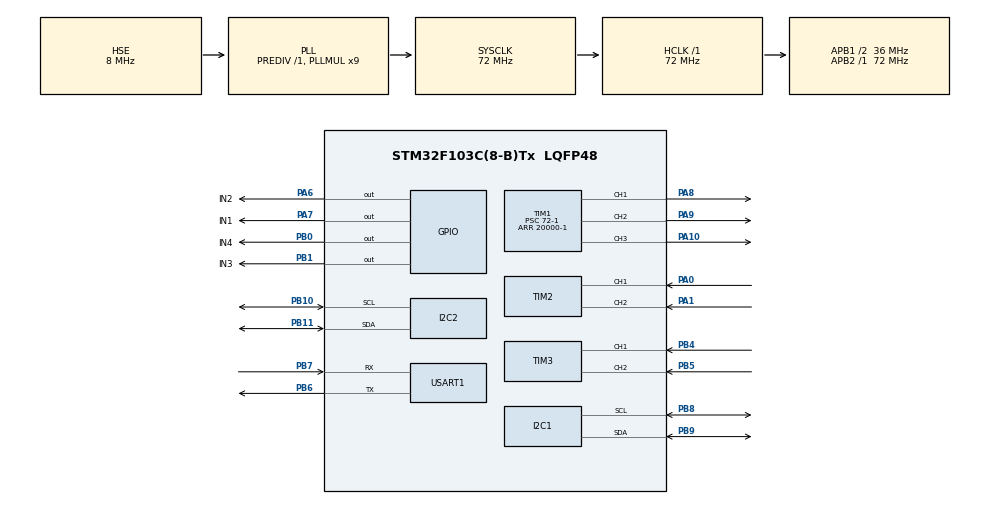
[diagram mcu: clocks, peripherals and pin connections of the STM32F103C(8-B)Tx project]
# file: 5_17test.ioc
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I2C1.I2C_Mode=I2C_Fast
I2C2.I2C_Mode=I2C_Fast
Mcu.Family=STM32F1
Mcu.Name=STM32F103C(8-B)Tx
Mcu.Package=LQFP48
NVIC.PriorityGroup=NVIC_PRIORITYGROUP_4
NVIC.TIM4_IRQn=true\:1\:0\:true\:false\:true\:true\:true\:true
PA0-WKUP.Signal=S_TIM2_CH1_ETR
PA1.Signal=S_TIM2_CH2
PA10.Signal=S_TIM1_CH3
PA13.Mode=Serial_Wire
PA13.Signal=SYS_JTMS-SWDIO
PA14.Mode=Serial_Wire
PA14.Signal=SYS_JTCK-SWCLK
PA6.GPIO_Label=IN2
PA6.PinState=GPIO_PIN_SET
PA6.Signal=GPIO_Output
PA7.GPIO_Label=IN1
PA7.GPIO_Speed=GPIO_SPEED_FREQ_HIGH
PA7.PinState=GPIO_PIN_RESET
PA7.Signal=GPIO_Output
PA8.Signal=S_TIM1_CH1
PA9.Signal=S_TIM1_CH2
PB0.GPIO_Label=IN4
PB0.GPIO_Speed=GPIO_SPEED_FREQ_HIGH
PB0.PinState=GPIO_PIN_RESET
PB0.Signal=GPIO_Output
PB1.GPIO_Label=IN3
PB1.GPIO_Speed=GPIO_SPEED_FREQ_HIGH
PB1.PinState=GPIO_PIN_SET
PB1.Signal=GPIO_Output
PB10.Mode=I2C
PB10.Signal=I2C2_SCL
PB11.Mode=I2C
PB11.Signal=I2C2_SDA
PB4.Signal=S_TIM3_CH1
PB5.Signal=S_TIM3_CH2
PB6.Mode=Asynchronous
PB6.Signal=USART1_TX
PB7.Mode=Asynchronous
PB7.Signal=USART1_RX
PB8.Mode=I2C
PB8.Signal=I2C1_SCL
PB9.Mode=I2C
PB9.Signal=I2C1_SDA
PD0-OSC_IN.Mode=HSE-External-Oscillator
PD0-OSC_IN.Signal=RCC_OSC_IN
PD1-OSC_OUT.Mode=HSE-External-Oscillator
PD1-OSC_OUT.Signal=RCC_OSC_OUT
ProjectManager.HeapSize=0x200
ProjectManager.StackSize=0x400
ProjectManager.TargetToolchain=STM32CubeIDE
RCC.AHBFreq_Value=72000000
RCC.APB1CLKDivider=RCC_HCLK_DIV2
RCC.APB1Freq_Value=36000000
RCC.APB1TimFreq_Value=72000000
RCC.APB2Freq_Value=72000000
RCC.APB2TimFreq_Value=72000000
RCC.HCLKFreq_Value=72000000
RCC.PLLMUL=RCC_PLL_MUL9
RCC.PLLSourceVirtual=RCC_PLLSOURCE_HSE
RCC.SYSCLKFreq_VALUE=72000000
RCC.SYSCLKSource=RCC_SYSCLKSOURCE_PLLCLK
RCC.USBFreq_Value=72000000
SH.S_TIM1_CH1.0=TIM1_CH1,PWM Generation1 CH1
SH.S_TIM1_CH2.0=TIM1_CH2,PWM Generation2 CH2
SH.S_TIM1_CH3.0=TIM1_CH3,PWM Generation3 CH3
SH.S_TIM2_CH1_ETR.0=TIM2_CH1,Encoder_Interface
SH.S_TIM2_CH2.0=TIM2_CH2,Encoder_Interface
SH.S_TIM3_CH1.0=TIM3_CH1,Encoder_Interface
SH.S_TIM3_CH2.0=TIM3_CH2,Encoder_Interface
TIM1.AutoReloadPreload=TIM_AUTORELOAD_PRELOAD_ENABLE
TIM1.Channel-PWM\ Generation1\ CH1=TIM_CHANNEL_1
TIM1.Channel-PWM\ Generation2\ CH2=TIM_CHANNEL_2
TIM1.Channel-PWM\ Generation3\ CH3=TIM_CHANNEL_3
TIM1.Period=20000-1
TIM1.Prescaler=72-1
TIM1.Pulse-PWM\ Generation3\ CH3=0
TIM2.EncoderMode=TIM_ENCODERMODE_TI12
TIM2.TIM_MasterSlaveMode=TIM_MASTERSLAVEMODE_DISABLE
TIM3.EncoderMode=TIM_ENCODERMODE_TI12
TIM4.Period=10000-1
TIM4.Prescaler=72-1
USART1.VirtualMode=VM_ASYNC
VP_TIM1_VS_ClockSourceINT.Mode=Internal
VP_TIM1_VS_ClockSourceITR.Mode=TriggerSource_ITR0
VP_TIM4_VS_ClockSourceINT.Mode=Internal
board=custom

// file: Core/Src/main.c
/* USER CODE BEGIN Header */
/**
  ******************************************************************************
  * @file           : main.c
  * @brief          : Main program body
  ******************************************************************************
  * @attention
  *
  * Copyright (c) 2024 STMicroelectronics.
  * All rights reserved.
  *
  * This software is licensed under terms that can be found in the LICENSE file
  * in the root directory of this software component.
  * If no LICENSE file comes with this software, it is provided AS-IS.
  *
  ******************************************************************************
  */
/* USER CODE END Header */
#include "main.h"
#include "i2c.h"
#include "tim.h"
#include "usart.h"
#include "gpio.h"

/* USER CODE BEGIN Includes */
#include "mpu6050.h"
/* USER CODE END Includes */

/* USER CODE BEGIN PTD */
float pitch,roll,yaw,g,angle_g;
float pwm;
float pwmout = 150;
int MotorOutput1;
int duoji;
float angle_pwm,pwm1,pwm2;
float pitch_pid,yaw_pid;
float static  a=1;//pitch对于纠正小坡度的影响因子
float static  b=1;//yaw对于纠正小坡度的影响因子
float c=1;//pitch对于纠正小车转向的影响因子
float d=1;//yaw对于纠正小车转向的影响因子
/* USER CODE END PTD */

void SystemClock_Config(void);
/* USER CODE BEGIN PFP */
MPU6050_t MPU6050;
double recorded_angles[6];
double max_angle = -180.0;
int max_angle_index = 0;
/* USER CODE END PFP */

int main(void)
{
    /* USER CODE BEGIN 1 */
    uint32_t pwm_value = 10000;
    uint32_t degree = 500;
    /* USER CODE END 1 */

    /* MCU Configuration--------------------------------------------------------*/

    /* Reset of all peripherals, Initializes the Flash interface and the Systick. */
    HAL_Init();

    /* Configure the system clock */
    SystemClock_Config();

    /* Initialize all configured peripherals */
    MX_GPIO_Init();
    MX_TIM1_Init();
    MX_TIM2_Init();
    MX_TIM3_Init();
    MX_USART1_UART_Init();
    MX_TIM4_Init();
    MX_I2C1_Init();
    MX_I2C2_Init();
    /* USER CODE BEGIN 2 */
    HAL_TIM_Base_Start_IT(&htim3);
    HAL_TIM_PWM_Start(&htim1, TIM_CHANNEL_1);
    HAL_TIM_PWM_Start(&htim1, TIM_CHANNEL_2);
    HAL_TIM_PWM_Start(&htim1, TIM_CHANNEL_3);
    HAL_TIM_Encoder_Start(&htim2, TIM_CHANNEL_1);
    HAL_TIM_Encoder_Start(&htim2, TIM_CHANNEL_2);
    HAL_TIM_Encoder_Start(&htim3, TIM_CHANNEL_1);
    HAL_TIM_Encoder_Start(&htim3, TIM_CHANNEL_2);

    __HAL_TIM_ENABLE_IT(&htim2,TIM_IT_UPDATE);
    __HAL_TIM_ENABLE_IT(&htim3,TIM_IT_UPDATE);

    __HAL_TIM_SET_COUNTER(&htim2, 30000);
    __HAL_TIM_SET_COUNTER(&htim3, 30000);

    while (MPU6050_Init(&hi2c2) == 1);
    /* USER CODE END 2 */

    /* Infinite loop */
    while (1) {

        /* USER CODE BEGIN 3 */
        MPU6050_Read_All(&hi2c2, &MPU6050);

        HAL_GPIO_WritePin(IN2_GPIO_Port, IN2_Pin, GPIO_PIN_RESET);

        HAL_GPIO_WritePin(IN1_GPIO_Port, IN1_Pin, GPIO_PIN_SET);

        HAL_GPIO_WritePin(IN4_GPIO_Port, IN4_Pin, GPIO_PIN_RESET);

        HAL_GPIO_WritePin(IN3_GPIO_Port, IN3_Pin, GPIO_PIN_SET);

        MotorOutput1 =10000 - MPU6050.KalmanAngleY*5 ;
                __HAL_TIM_SetCompare(&htim1, TIM_CHANNEL_1, MotorOutput1);
                __HAL_TIM_SetCompare(&htim1, TIM_CHANNEL_2, MotorOutput1);
        duoji=1500 - MPU6050.KalmanAngleY*2;
        //HAL_Delay(200);
            __HAL_TIM_SetCompare(&htim1, TIM_CHANNEL_3, duoji);
        HAL_Delay(10);

    }
    /* USER CODE END 3 */
}

void SystemClock_Config(void)
{
    RCC_OscInitTypeDef RCC_OscInitStruct = {0};
    RCC_ClkInitTypeDef RCC_ClkInitStruct = {0};

    /** Initializes the RCC Oscillators according to the specified parameters
    * in the RCC_OscInitTypeDef structure.
    */
    RCC_OscInitStruct.OscillatorType = RCC_OSCILLATORTYPE_HSE;
    RCC_OscInitStruct.HSEState = RCC_HSE_ON;
    RCC_OscInitStruct.HSEPredivValue = RCC_HSE_PREDIV_DIV1;
    RCC_OscInitStruct.HSIState = RCC_HSI_ON;
    RCC_OscInitStruct.PLL.PLLState = RCC_PLL_ON;
    RCC_OscInitStruct.PLL.PLLSource = RCC_PLLSOURCE_HSE;
    RCC_OscInitStruct.PLL.PLLMUL = RCC_PLL_MUL9;
    if (HAL_RCC_OscConfig(&RCC_OscInitStruct) != HAL_OK)
    {
        Error_Handler();
    }

    /** Initializes the CPU, AHB and APB buses clocks
    */
    RCC_ClkInitStruct.ClockType = RCC_CLOCKTYPE_HCLK|RCC_CLOCKTYPE_SYSCLK
                                  |RCC_CLOCKTYPE_PCLK1|RCC_CLOCKTYPE_PCLK2;
    RCC_ClkInitStruct.SYSCLKSource = RCC_SYSCLKSOURCE_PLLCLK;
    RCC_ClkInitStruct.AHBCLKDivider = RCC_SYSCLK_DIV1;
    RCC_ClkInitStruct.APB1CLKDivider = RCC_HCLK_DIV2;
    RCC_ClkInitStruct.APB2CLKDivider = RCC_HCLK_DIV1;

    if (HAL_RCC_ClockConfig(&RCC_ClkInitStruct, FLASH_LATENCY_2) != HAL_OK)
    {
        Error_Handler();
    }
}

/* USER CODE BEGIN 4 */
//中断处理函数
void HAL_TIM_PeriodElapsedCallback(TIM_HandleTypeDef *htim)
{
    if(htim->Instance == TIM4)
    {
        __HAL_TIM_SET_COMPARE(&htim1,TIM_CHANNEL_1,20000);
        __HAL_TIM_SET_COMPARE(&htim1,TIM_CHANNEL_2,20000);
        __HAL_TIM_SET_COMPARE(&htim1,TIM_CHANNEL_3,20000);
    }
}
/* USER CODE END 4 */

void Error_Handler(void)
{
    __disable_irq();
    while (1)
    {
    }
}
